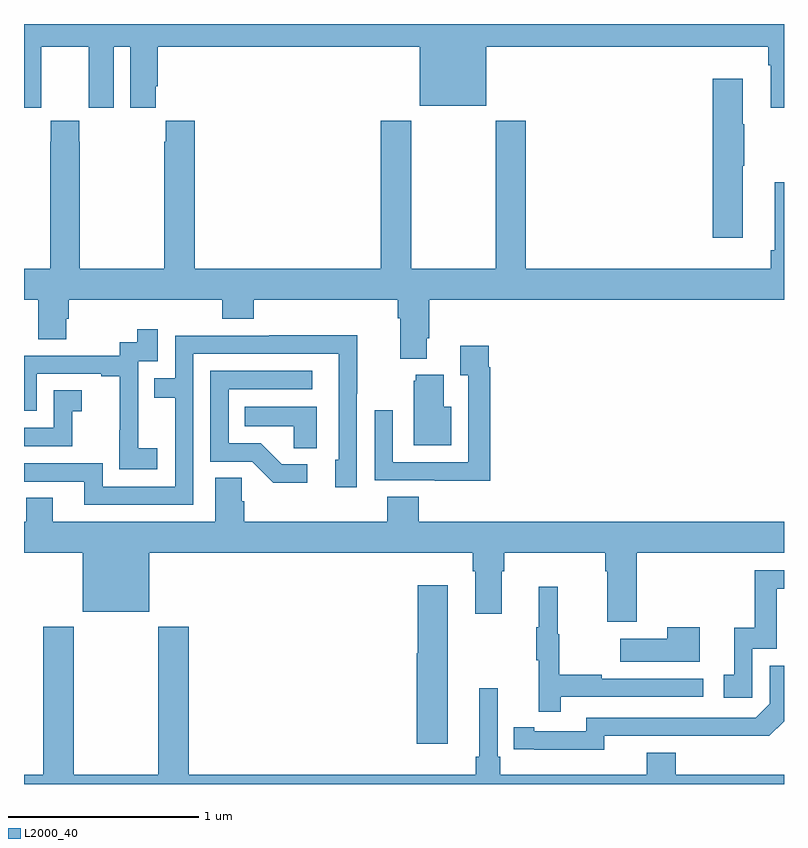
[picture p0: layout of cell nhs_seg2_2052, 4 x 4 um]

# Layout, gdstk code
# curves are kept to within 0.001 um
import gdstk
lib = gdstk.Library(unit=1e-6, precision=1e-09)
def P(c, l, *ps):  # polygons
    for p in ps: c.add(gdstk.Polygon(p, *l))
L2000_40 = (2000, 40)

nhs_seg2_2052 = lib.new_cell('nhs_seg2_2052')
P(nhs_seg2_2052, L2000_40, [(219.09,603.472),(219.091,603.472),(219.091,603.68),(219.341,603.68),(219.341,603.472),(219.342,603.472),(219.342,603.36),(219.472,603.36),(219.472,603.68),(219.56,603.68),(219.56,603.36),(219.694,603.36),(219.694,603.472),(219.704,603.472),(219.704,603.68),(221.084,603.68),(221.084,603.371),(221.434,603.371),(221.434,603.68),(222.917,603.68),(222.917,603.584),(222.929,603.584),(222.929,603.36),(223,603.36),(223,603.8),(219,603.8),(219,603.36),(219.09,603.36)],
  [(222.784,603.055),(222.792,603.055),(222.792,603.272),(222.784,603.272),(222.784,603.511),(222.626,603.511),(222.626,602.676),(222.784,602.676)],
  [(221.119,602.146),(221.132,602.146),(221.132,602.348),(223,602.348),(223,602.968),(222.95,602.968),(222.95,602.608),(222.931,602.608),(222.931,602.512),(221.642,602.512),(221.642,603.292),(221.482,603.292),(221.482,602.512),(221.037,602.512),(221.037,603.292),(220.877,603.292),(220.877,602.512),(219.899,602.512),(219.899,603.292),(219.745,603.292),(219.745,603.179),(219.739,603.179),(219.739,602.512),(219.294,602.512),(219.294,603.179),(219.291,603.179),(219.291,603.292),(219.141,603.292),(219.141,603.179),(219.139,603.179),(219.139,602.512),(219,602.512),(219,602.348),(219.076,602.348),(219.076,602.14),(219.223,602.14),(219.223,602.25),(219.236,602.25),(219.236,602.348),(220.043,602.348),(220.043,602.249),(220.208,602.249),(220.208,602.348),(220.967,602.348),(220.967,602.252),(220.979,602.252),(220.979,602.039),(221.119,602.039)],
  [(219.7,601.567),(219.602,601.567),(219.602,601.796),(219.6,601.796),(219.6,602.025),(219.705,602.025),(219.705,602.194),(219.597,602.194),(219.597,602.124),(219.504,602.124),(219.504,602.055),(219,602.055),(219,601.764),(219.066,601.764),(219.066,601.959),(219.407,601.959),(219.407,601.947),(219.503,601.947),(219.503,601.663),(219.502,601.663),(219.502,601.457),(219.7,601.457)],
  [(219.891,602.064),(220.656,602.064),(220.656,601.506),(220.637,601.506),(220.637,601.362),(220.752,601.362),(220.752,601.855),(220.755,601.855),(220.755,602.162),(220.291,602.162),(220.291,602.16),(219.795,602.16),(219.795,601.935),(219.685,601.935),(219.685,601.834),(219.795,601.834),(219.795,601.365),(219.414,601.365),(219.414,601.488),(219,601.488),(219,601.392),(219.317,601.392),(219.317,601.269),(219.891,601.269)],
  [(221.453,601.994),(221.446,601.994),(221.446,602.107),(221.297,602.107),(221.297,601.951),(221.337,601.951),(221.337,601.494),(220.941,601.494),(220.941,601.768),(220.845,601.768),(220.845,601.398),(221.161,601.398),(221.161,601.397),(221.453,601.397)],
  [(220.492,601.482),(220.357,601.482),(220.246,601.593),(220.077,601.593),(220.077,601.878),(220.516,601.878),(220.516,601.974),(219.981,601.974),(219.981,601.497),(220.2,601.497),(220.313,601.385),(220.492,601.385)],
  [(221.248,601.786),(221.209,601.786),(221.209,601.954),(221.063,601.954),(221.063,601.923),(221.051,601.923),(221.051,601.583),(221.248,601.583)],
  [(219.255,601.763),(219.304,601.763),(219.304,601.873),(219.156,601.873),(219.156,601.674),(219,601.674),(219,601.578),(219.255,601.578)],
  [(220.54,601.786),(220.162,601.786),(220.162,601.682),(220.419,601.682),(220.419,601.567),(220.54,601.567)],
  [(219.308,600.707),(219.658,600.707),(219.658,601.016),(221.363,601.016),(221.363,600.92),(221.375,600.92),(221.375,600.696),(221.515,600.696),(221.515,600.92),(221.528,600.92),(221.528,601.016),(222.059,601.016),(222.059,600.92),(222.071,600.92),(222.071,600.654),(222.224,600.654),(222.224,601.016),(223,601.016),(223,601.18),(221.078,601.18),(221.078,601.313),(220.913,601.313),(220.913,601.18),(220.16,601.18),(220.16,601.289),(220.146,601.289),(220.146,601.412),(220.007,601.412),(220.007,601.18),(219.151,601.18),(219.151,601.307),(219.012,601.307),(219.012,601.18),(219,601.18),(219,601.016),(219.308,601.016)],
  [(222.834,600.513),(222.963,600.513),(222.963,600.828),(223,600.828),(223,600.924),(222.847,600.924),(222.847,600.622),(222.737,600.622),(222.737,600.375),(222.684,600.375),(222.684,600.255),(222.834,600.255)],
  [(221.23,600.847),(221.072,600.847),(221.072,600.489),(221.066,600.489),(221.066,600.012),(221.23,600.012)],
  [(221.825,600.258),(222.574,600.258),(222.574,600.354),(222.041,600.354),(222.041,600.374),(221.818,600.374),(221.818,600.588),(221.81,600.588),(221.81,600.838),(221.708,600.838),(221.708,600.625),(221.697,600.625),(221.697,600.451),(221.708,600.451),(221.708,600.18),(221.825,600.18)],
  [(223,599.848),(222.431,599.848),(222.431,599.965),(222.278,599.965),(222.278,599.848),(221.507,599.848),(221.507,599.944),(221.493,599.944),(221.493,600.304),(221.396,600.304),(221.396,599.944),(221.377,599.944),(221.377,599.848),(219.866,599.848),(219.866,600.628),(219.706,600.628),(219.706,599.848),(219.261,599.848),(219.261,600.628),(219.101,600.628),(219.101,599.848),(219,599.848),(219,599.8),(223,599.8)],
  [(222.556,600.625),(222.386,600.625),(222.386,600.565),(222.137,600.565),(222.137,600.443),(222.556,600.443)],
  [(222.054,600.054),(222.922,600.053),(223,600.13),(223,600.423),(222.924,600.423),(222.924,600.222),(222.852,600.15),(221.958,600.15),(221.958,600.078),(221.686,600.078),(221.686,600.098),(221.578,600.098),(221.578,599.982),(222.054,599.981)])

lib.write_gds('nhs_seg2_2052.gds')
